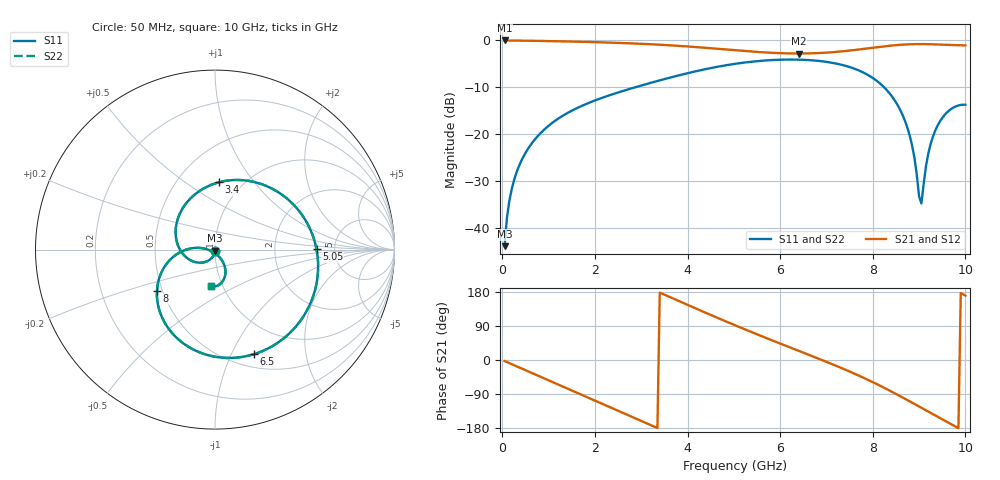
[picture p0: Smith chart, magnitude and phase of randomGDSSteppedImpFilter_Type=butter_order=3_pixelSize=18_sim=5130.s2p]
! freq	dB(S11)	phase(S11)	dB(S12)	phase(S12)
!  dB(S21)	phase(S21)	dB(S22)	phase(S22)
!S-par simulation data
#  GHz  S  DB  R 50
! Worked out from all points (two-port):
!   200 points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, 50 MHz to 10 GHz, reference 50 ohm
!   highest |S21| = 0.00 dB at 50 MHz (marker M1); lowest = -2.8 dB at 6.4 GHz (marker M2)
!   |S21| within 3 dB of the highest: start of sweep to end of sweep
!   lowest |S11| = -43.9 dB at 50 MHz (marker M3), VSWR 1.01, Z = 50 - j0.64 ohm
!   |S11| at or under -10 dB: start of sweep to 2.864 GHz; 8.246 GHz to end of sweep
!   |S22| runs from -43.9 to -4.1 dB; largest |S21 - S12| = 0
!   S11 on the Smith chart (normalised r, x): 50 MHz: 1.00, -0.01; 3.4 GHz: 0.78, +0.68; 5.05 GHz: 3.60, +0.02; 6.5 GHz: 0.65, -1.23; 8 GHz: 0.47, -0.26; 10 GHz: 0.88, -0.38
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0.05  -43.86 -92.1  -0.00 -2.7  -0.00 -2.7  -43.86 -92.1
0.1  -37.84 -95.1  -0.01 -5.4  -0.01 -5.4  -37.84 -95.1
0.2  -31.84 -100.6  -0.02 -10.8  -0.02 -10.8  -31.84 -100.6
0.5  -23.99 -117.1  -0.05 -26.9  -0.05 -26.9  -23.99 -117.1
1.15  -17.06 -152.5  -0.16 -61.6  -0.16 -61.6  -17.06 -152.5
1.75  -13.80 175.3  -0.30 -93.6  -0.30 -93.6  -13.80 175.4
2.65  -10.63 127.1  -0.57 -141.8  -0.57 -141.8  -10.63 127.1
3.4  -8.51 86.7  -0.91 177.8  -0.91 177.8  -8.51 86.8
4.3  -6.31 38.8  -1.50 129.5  -1.50 129.5  -6.31 38.8
5.05  -4.95 0.2  -2.11 90.5  -2.11 90.5  -4.95 0.3
5.7  -4.26 -31.7  -2.57 58.0  -2.57 58.0  -4.26 -31.6
6.4  -4.09 -64.7  -2.79 24.3  -2.79 24.3  -4.09 -64.7
6.5  -4.13 -69.4  -2.78 19.5  -2.78 19.5  -4.13 -69.4
6.7  -4.24 -78.8  -2.74 9.8  -2.74 9.8  -4.24 -78.8
7.4  -5.38 -112.7  -2.26 -25.1  -2.26 -25.1  -5.38 -112.7
8  -8.00 -144.4  -1.55 -58.4  -1.55 -58.4  -8.00 -144.4
8.35  -11.13 -164.1  -1.14 -79.8  -1.14 -79.8  -11.13 -164.1
8.8  -20.37 174.0  -0.82 -109.3  -0.82 -109.3  -20.37 174.0
9.05  -34.76 -104.1  -0.78 -126.2  -0.78 -126.2  -34.72 -104.2
9.2  -24.06 -57.3  -0.80 -136.3  -0.80 -136.3  -24.05 -57.4
9.35  -19.20 -60.2  -0.84 -146.4  -0.84 -146.4  -19.20 -60.3
10  -13.71 -95.8  -1.06 169.9  -1.06 169.9  -13.71 -96.0
